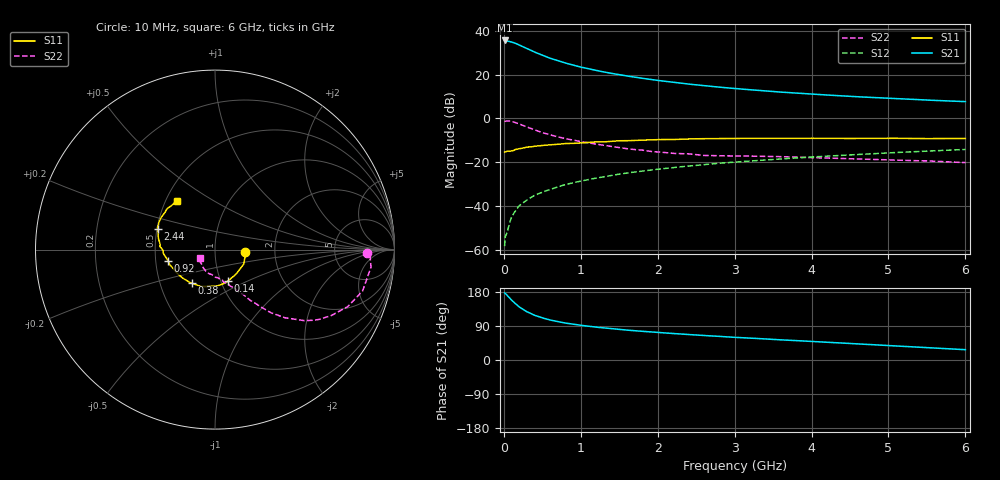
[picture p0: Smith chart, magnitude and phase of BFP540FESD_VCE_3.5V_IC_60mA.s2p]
! Infineon Technologies  Discrete & RF Semiconductors
! BFP540FESD
! VCE =  3.5 V,  IC =  60 mA
! Common Emitter S-Parameters:  Nov 2015
# GHz  S  MA  R  50
!  f  S11  S21  S12  S22
! GHz  MAG  ANG  MAG  ANG  MAG  ANG  MAG  ANG
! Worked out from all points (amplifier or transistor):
!   210 points, 10 MHz to 6 GHz, reference 50 ohm
!   highest |S21| = 35.6 dB at 10 MHz (marker M1)
!   |S21| within 3 dB of that: start of sweep to 256.8 MHz
!   unconditionally stable (mu >= 1): start of sweep to 29.94 MHz; 1.159 GHz to end of sweep
!   at 185 MHz: K = 0.54, MSG = 37.2 dB, |S12| = -40.6 dB
!   at 1.52 GHz: K = 1.04, MAG = 21.4 dB, |S12| = -25.4 dB
!   at 6 GHz: K = 1.16, MAG = 8.5 dB, |S12| = -14.2 dB
!   S11 on the Smith chart (normalised r, x): 10 MHz: 1.40, -0.04; 140 MHz: 1.08, -0.39; 380 MHz: 0.73, -0.29; 920 MHz: 0.58, -0.08; 2.44 GHz: 0.50, +0.13; 6 GHz: 0.57, +0.35
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0.01  0.1692 -4.9  60.12 177.2  0.0012 108.8  0.8445 -1.1
0.02  0.1717 -13.4  58.09 175.6  0.002 84.6  0.8608 -0.3
0.05  0.1795 -26.7  58.19 169.1  0.0027 88.1  0.8747 -6.4
0.1  0.1803 -49.7  55.43 158.1  0.0055 77.5  0.8542 -15.6
0.14  0.1894 -68.0  52.52 150.7  0.0072 78.2  0.8139 -21.6
0.15  0.1945 -72.2  51.94 148.7  0.0076 78.3  0.8053 -23.2
0.2  0.2028 -86.3  47.37 140.1  0.0101 74.2  0.7445 -29.6
0.24  0.2071 -97.3  43.91 134.7  0.0114 75.0  0.6997 -33.7
0.3  0.2204 -110.8  39.22 127.2  0.0136 72.7  0.6341 -38.6
0.38  0.2269 -124.1  33.82 120.0  0.0166 72.1  0.5611 -43.0
0.5  0.2405 -139.2  27.59 111.0  0.0206 72.6  0.4709 -48.4
0.6  0.2485 -147.5  23.64 105.6  0.0237 71.6  0.418 -50.9
0.78  0.2626 -159.8  18.8 98.3  0.0299 72.3  0.3504 -54.8
0.92  0.2686 -166.1  16.08 93.9  0.0342 72.1  0.312 -56.9
1.02  0.275 -170.1  14.56 91.1  0.0375 71.6  0.29 -58.5
1.5  0.3072 176.9  9.913 80.7  0.053 69.2  0.2153 -67.9
2.02  0.3267 166.0  7.276 72.3  0.0692 66.4  0.17 -80.2
2.44  0.3395 159.9  5.961 66.7  0.0822 64.0  0.1517 -90.2
3.1  0.3477 153.3  4.647 58.8  0.1028 59.3  0.1378 -103.9
4.1  0.3486 146.6  3.489 47.9  0.1338 52.7  0.1251 -118.0
5.1  0.3495 138.6  2.819 37.0  0.1655 44.6  0.1105 -131.7
6  0.3466 127.9  2.408 27.2  0.1944 36.9  0.0974 -152.0
